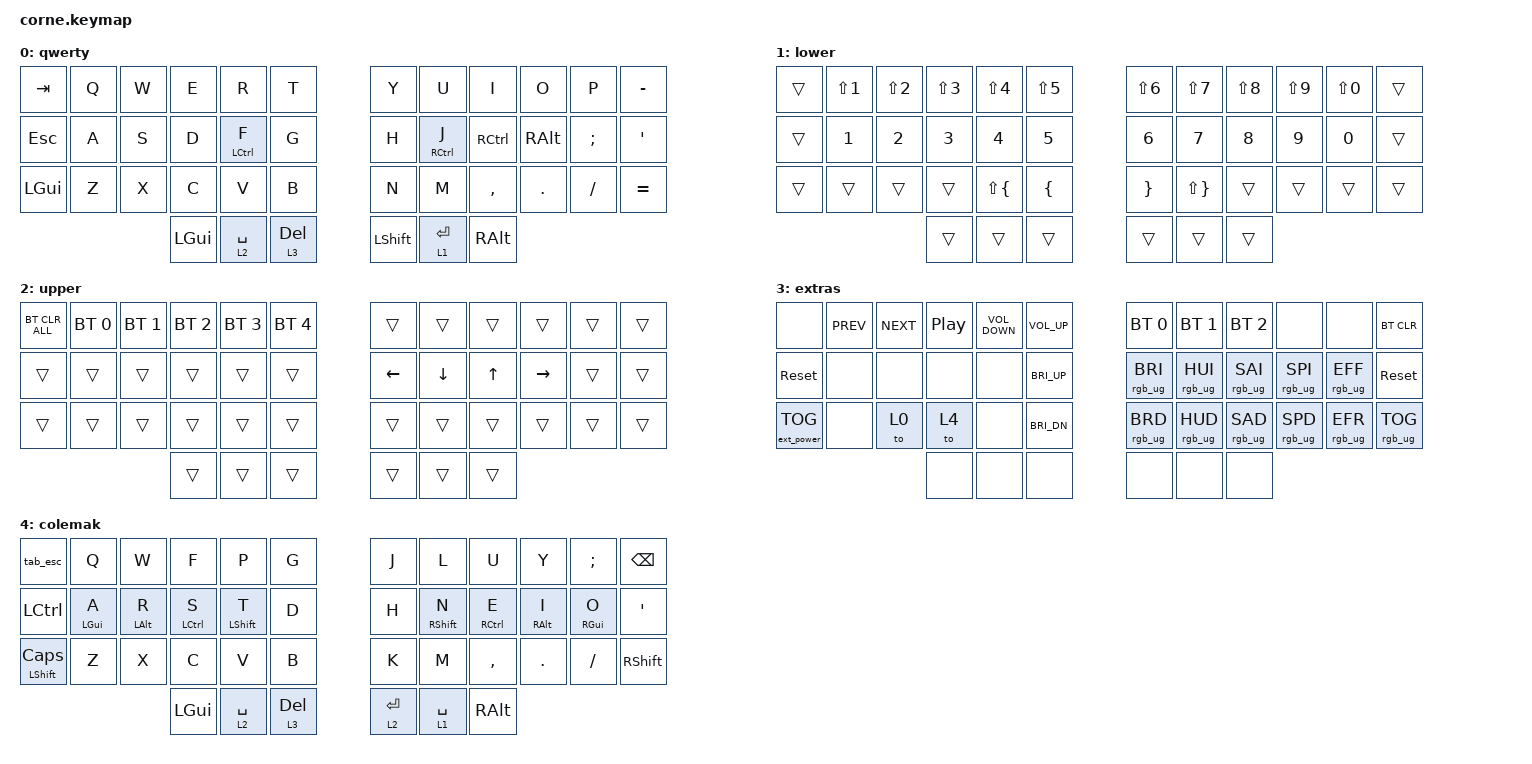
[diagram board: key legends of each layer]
#include <behaviors.dtsi>
#include <dt-bindings/zmk/bt.h>
#include <dt-bindings/zmk/ext_power.h>
#include <dt-bindings/zmk/keys.h>
#include <dt-bindings/zmk/rgb.h>

/ {
    behaviors {
        tab_esc: tab_esc {
            compatible = "zmk,behavior-tap-dance";
            label = "TAB_ESC";
            #binding-cells = <0>;
            tapping-term-ms = <200>;
            bindings = <&kp TAB>, <&kp ESC>;
        };

        hm: homerow_mods {
            compatible = "zmk,behavior-hold-tap";
            label = "HOMEROW_MODS";
            #binding-cells = <2>;
            tapping-term-ms = <225>;
            quick_tap_ms = <180>;
            flavor = "tap-preferred";
            bindings = <&kp>, <&kp>;

            global-quick-tap;
        };

        hm_rick: hmrick {
            compatible = "zmk,behavior-hold-tap";
            label = "HMRICK";
            bindings = <&kp>, <&kp>;

            #binding-cells = <2>;
            flavor = "tap-preferred";
            tapping-term-ms = <175>; // triggers the hold behavior when the tapping-term-ms has expired
            quick-tap-ms = <150>; // If you press a tapped hold-tap again within quick-tap-ms milliseconds of the first press, it will always trigger the tap behavior.
            require-prior-idle-ms = <185>; // like quick-tap-ms however it will apply for any non-modifier key pressed before it
        };

        as_ht: autoshift_hold_tap {
            compatible = "zmk,behavior-hold-tap";
            label = "AUTOSHIFT_HOLD_TAP";
            #binding-cells = <2>;
            tapping-term-ms = <200>;
            bindings = <&shifted>, <&kp>;
        };

        sticky: sticky {
            compatible = "zmk,behavior-sticky-key";
            label = "STICKY";
            bindings = <&kp>;
            #binding-cells = <1>;
            release-after-ms = <10000>;
        };
    };
macros {
    shifted: macro_shifted_kp {
      #binding-cells = <1>;
      label = "MACRO_SHIFTED_KP";
      compatible = "zmk,behavior-macro-one-param";
      bindings =
        <&macro_press &kp LSHFT>,
        <&macro_param_1to1 &macro_tap &kp MACRO_PLACEHOLDER>,
        <&macro_release &kp LSHFT>;
    };

    as: autoshift {
      compatible = "zmk,behavior-macro-one-param";
      #binding-cells = <1>;
      label = "AUTOSHIFT_KP";
      bindings =
        <&macro_press>,
        <&macro_param_1to1>,
        <&macro_param_1to2>,
        <&as_ht MACRO_PLACEHOLDER MACRO_PLACEHOLDER>,
        <&macro_pause_for_release>,
        <&macro_release>,
        <&macro_param_1to1>,
        <&macro_param_1to2>,
        <&as_ht MACRO_PLACEHOLDER MACRO_PLACEHOLDER>;
    };
  };
    keymap {
        compatible = "zmk,keymap";

        qwerty {
            bindings = <
&kp TAB       &kp Q  &kp W  &kp E         &kp R                    &kp T         &kp Y           &kp U                     &kp I          &kp O          &kp P     &kp MINUS
&kp ESCAPE    &kp A  &kp S  &kp D         &hm_rick LEFT_CONTROL F  &kp G         &kp H           &hm_rick RIGHT_CONTROL J  &kp RCTRL      &kp RIGHT_ALT  &kp SEMI  &kp SQT
&kp LEFT_GUI  &kp Z  &kp X  &kp C         &kp V                    &kp B         &kp N           &kp M                     &kp COMMA      &kp DOT        &kp FSLH  &kp EQUAL
                            &kp LEFT_GUI  &lt 2 SPACE              &lt 3 DELETE  &kp LEFT_SHIFT  &lt 1 ENTER               &kp RIGHT_ALT
            >;
        };

        lower {
            bindings = <
&trans  &kp LS(N1)  &kp LS(N2)  &kp LS(N3)  &kp LS(N4)          &kp LS(N5)      &kp LS(N6)       &kp LS(N7)           &kp LS(N8)  &kp LS(N9)  &kp LS(N0)  &trans
&trans  &kp N1      &kp N2      &kp N3      &kp N4              &kp N5          &kp N6           &kp N7               &kp N8      &kp N9      &kp N0      &trans
&trans  &trans      &trans      &trans      &kp LS(LEFT_BRACE)  &kp LEFT_BRACE  &kp RIGHT_BRACE  &kp LS(RIGHT_BRACE)  &trans      &trans      &trans      &trans
                                &trans      &trans              &trans          &trans           &trans               &trans
            >;
        };

        upper {
            bindings = <
&bt BT_CLR_ALL  &bt BT_SEL 0  &bt BT_SEL 1  &bt BT_SEL 2  &bt BT_SEL 3  &bt BT_SEL 4  &trans          &trans          &trans        &trans           &trans  &trans
&trans          &trans        &trans        &trans        &trans        &trans        &kp LEFT_ARROW  &kp DOWN_ARROW  &kp UP_ARROW  &kp RIGHT_ARROW  &trans  &trans
&trans          &trans        &trans        &trans        &trans        &trans        &trans          &trans          &trans        &trans           &trans  &trans
                                            &trans        &trans        &trans        &trans          &trans          &trans
            >;
        };

        extras {
            bindings = <
&none              &kp C_PREV  &kp C_NEXT  &kp C_PP  &kp C_VOLUME_DOWN  &kp C_VOL_UP  &bt BT_SEL 0     &bt BT_SEL 1     &bt BT_SEL 2     &none            &none            &bt BT_CLR
&sys_reset         &none       &none       &none     &none              &kp C_BRI_UP  &rgb_ug RGB_BRI  &rgb_ug RGB_HUI  &rgb_ug RGB_SAI  &rgb_ug RGB_SPI  &rgb_ug RGB_EFF  &sys_reset
&ext_power EP_TOG  &none       &to 0       &to 4     &none              &kp C_BRI_DN  &rgb_ug RGB_BRD  &rgb_ug RGB_HUD  &rgb_ug RGB_SAD  &rgb_ug RGB_SPD  &rgb_ug RGB_EFR  &rgb_ug RGB_TOG
                                           &none     &none              &none         &none            &none            &none
            >;
        };

        colemak {
            bindings = <
&tab_esc                 &kp Q           &kp W           &kp F               &kp P             &kp G         &kp J        &kp L              &kp U                &kp Y            &kp SEMICOLON    &kp BACKSPACE
&kp LCTRL                &hm LEFT_GUI A  &hm LEFT_ALT R  &hm LEFT_CONTROL S  &hm LEFT_SHIFT T  &kp D         &kp H        &hm RIGHT_SHIFT N  &hm RIGHT_CONTROL E  &hm RIGHT_ALT I  &hm RIGHT_GUI O  &kp SQT
&mt LEFT_SHIFT CAPSLOCK  &kp Z           &kp X           &kp C               &kp V             &kp B         &kp K        &kp M              &kp COMMA            &kp DOT          &kp FSLH         &kp RIGHT_SHIFT
                                                         &kp LEFT_GUI        &lt 2 SPACE       &lt 3 DELETE  &lt 2 ENTER  &lt 1 SPACE        &kp RIGHT_ALT
            >;
        };
    };
};
